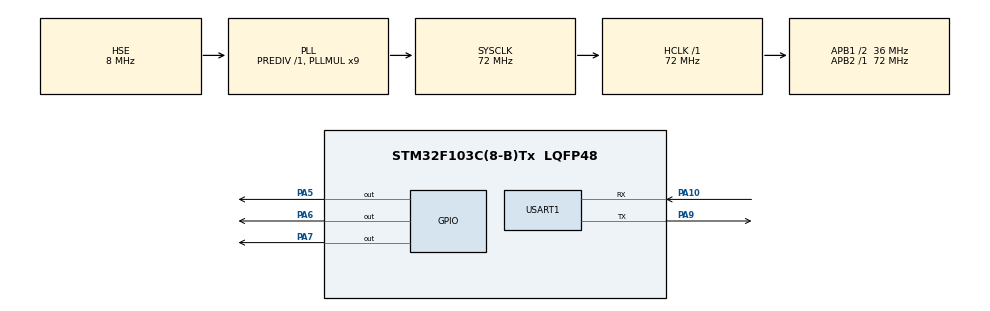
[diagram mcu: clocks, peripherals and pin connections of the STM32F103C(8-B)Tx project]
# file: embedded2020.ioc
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Mcu.Family=STM32F1
Mcu.Name=STM32F103C(8-B)Tx
Mcu.Package=LQFP48
NVIC.PriorityGroup=NVIC_PRIORITYGROUP_4
NVIC.TIM3_IRQn=true\:0\:0\:false\:false\:true\:true\:true
NVIC.TIM4_IRQn=true\:0\:0\:false\:false\:true\:true\:true
NVIC.USART1_IRQn=true\:0\:0\:false\:false\:true\:true\:true
PA10.Mode=Asynchronous
PA10.Signal=USART1_RX
PA13.Mode=Serial_Wire
PA13.Signal=SYS_JTMS-SWDIO
PA14.Mode=Serial_Wire
PA14.Signal=SYS_JTCK-SWCLK
PA5.GPIO_ModeDefaultOutputPP=GPIO_MODE_OUTPUT_PP
PA5.GPIO_PuPd=GPIO_NOPULL
PA5.GPIO_Speed=GPIO_SPEED_FREQ_LOW
PA5.PinState=GPIO_PIN_RESET
PA5.Signal=GPIO_Output
PA6.GPIO_ModeDefaultOutputPP=GPIO_MODE_OUTPUT_PP
PA6.GPIO_PuPd=GPIO_NOPULL
PA6.GPIO_Speed=GPIO_SPEED_FREQ_LOW
PA6.PinState=GPIO_PIN_RESET
PA6.Signal=GPIO_Output
PA7.GPIO_ModeDefaultOutputPP=GPIO_MODE_OUTPUT_PP
PA7.GPIO_PuPd=GPIO_NOPULL
PA7.GPIO_Speed=GPIO_SPEED_FREQ_LOW
PA7.PinState=GPIO_PIN_RESET
PA7.Signal=GPIO_Output
PA9.Mode=Asynchronous
PA9.Signal=USART1_TX
PD0-OSC_IN.Mode=HSE-External-Oscillator
PD0-OSC_IN.Signal=RCC_OSC_IN
PD1-OSC_OUT.Mode=HSE-External-Oscillator
PD1-OSC_OUT.Signal=RCC_OSC_OUT
ProjectManager.HeapSize=0x200
ProjectManager.StackSize=0x400
ProjectManager.TargetToolchain=STM32CubeIDE
RCC.AHBFreq_Value=72000000
RCC.APB1CLKDivider=RCC_HCLK_DIV2
RCC.APB1Freq_Value=36000000
RCC.APB1TimFreq_Value=72000000
RCC.APB2Freq_Value=72000000
RCC.APB2TimFreq_Value=72000000
RCC.HCLKFreq_Value=72000000
RCC.PLLMUL=RCC_PLL_MUL9
RCC.PLLSourceVirtual=RCC_PLLSOURCE_HSE
RCC.SYSCLKFreq_VALUE=72000000
RCC.SYSCLKSource=RCC_SYSCLKSOURCE_PLLCLK
RCC.USBFreq_Value=72000000
RTC.Date=9
RTC.Format=RTC_FORMAT_BIN
RTC.Hours=16
RTC.Minutes=24
RTC.Month=RTC_MONTH_NOVEMBER
RTC.Year=20
TIM3.Period=10000
TIM3.Prescaler=7200
TIM4.Period=28799
TIM4.Prescaler=99
USART1.VirtualMode=VM_ASYNC
VP_RTC_VS_RTC_Activate.Mode=RTC_Enabled
VP_RTC_VS_RTC_Calendar.Mode=RTC_Calendar
VP_TIM3_VS_ClockSourceINT.Mode=Internal
VP_TIM4_VS_ClockSourceINT.Mode=Internal
board=custom

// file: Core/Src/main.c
/* USER CODE BEGIN Header */
/**
  ******************************************************************************
  * @file           : main.c
  * @brief          : Main program body
  ******************************************************************************
  * @attention
  *
  * <h2><center>&copy; Copyright (c) 2020 STMicroelectronics.
  * All rights reserved.</center></h2>
  *
  * This software component is licensed by ST under BSD 3-Clause license,
  * the "License"; You may not use this file except in compliance with the
  * License. You may obtain a copy of the License at:
  *                        opensource.org/licenses/BSD-3-Clause
  *
  ******************************************************************************
  */
/* USER CODE END Header */
#include "main.h"

/* USER CODE BEGIN Includes */
#include <scrolling_text.h>
#include <esp01.h>
#include <clock_face.h>

/* USER CODE END Includes */

RTC_HandleTypeDef hrtc;

TIM_HandleTypeDef htim3;
TIM_HandleTypeDef htim4;

UART_HandleTypeDef huart1;

void SystemClock_Config(void);
static void MX_GPIO_Init(void);
static void MX_RTC_Init(void);
static void MX_USART1_UART_Init(void);
static void MX_TIM4_Init(void);
static void MX_TIM3_Init(void);

/* USER CODE BEGIN 0 */

uint8_t receive_it[1] = {0};

char receive_buffer[1000] = {0};

//char receive_buffer[1000] = {0};

/* USER CODE END 0 */

int main(void)
{

  /* MCU Configuration--------------------------------------------------------*/

  /* Reset of all peripherals, Initializes the Flash interface and the Systick. */
  HAL_Init();

  /* Configure the system clock */
  SystemClock_Config();

  /* Initialize all configured peripherals */
  MX_GPIO_Init();
  MX_RTC_Init();
  MX_USART1_UART_Init();
  MX_TIM4_Init();
  MX_TIM3_Init();
  /* USER CODE BEGIN 2 */
  max_init(0x00);

  HAL_TIM_Base_Start_IT(&htim4); /* Scrolling text timer*/
  HAL_TIM_Base_Start_IT(&htim3); /* Clock face timer*/

  Scrolling_text scrolling_text = {};
  scrolling_text.times = 3; /* 1-10 */
  scrolling_text.char_column = -1;
  scrolling_text.char_index = 0;

  char* device_ip = esp_init("ssid", "pswd");
  sprintf(scrolling_text.text, device_ip);

  /* Initial values for the time and date */
  RTC_TimeTypeDef currTime = {0, 0, 0};
  RTC_DateTypeDef currDate = {6, 11, 15, 20};
  HAL_RTC_SetDate(&hrtc, &currDate, RTC_FORMAT_BIN);
  HAL_RTC_SetTime(&hrtc, &currTime, RTC_FORMAT_BIN);

  /* UART RX init*/
  uart_interrupt_counter = 0;
  HAL_UART_Receive_IT(&huart1, receive_it, 1);

  /* USER CODE END 2 */

  /* Infinite loop */
  /* USER CODE BEGIN WHILE */
  while (1)
  {
	  /* Parsing the UART-buffer */
	  if(uart_interrupt && uart_interrupt_counter > 1){
		  HAL_Delay(200); /* Delay for getting all the data from the ESP */
		  server_handle(receive_buffer, &scrolling_text);
	      /* Clearing the buffer */
		  memset(receive_buffer, 0, sizeof receive_buffer);
		  //receive_buffer[0] = '\0';
		  uart_interrupt_counter = 0;

		  uart_interrupt = 0;
	  }

	  /* The tim4 screen updater interrupt 40ms (25Hz) */
	  if(update_screen == 1 && strlen(scrolling_text.text) != 0){
		  scroll_text_left_IT(&scrolling_text);
		  update_screen = 0;
	  }

	  /* The tim3 clock-face showing interrupt */
	  if(update_clock == 1 && strlen(scrolling_text.text) == 0){
		  HAL_RTC_GetTime(&hrtc, &currTime, RTC_FORMAT_BIN);
		  show_clock_face(&currTime);

		  /* Showing the date in every 30 seconds */
		  if (currTime.Seconds % 30 == 0){
			  HAL_RTC_GetDate(&hrtc, &currDate, RTC_FORMAT_BIN);
			  char* date = get_date_string(&currDate);
			  sprintf(scrolling_text.text, "    %s", date);
			  scrolling_text.times = 1;
		  }
		  update_clock = 0;
	  }

    /* USER CODE END WHILE */

  }
}

void SystemClock_Config(void)
{
  RCC_OscInitTypeDef RCC_OscInitStruct = {0};
  RCC_ClkInitTypeDef RCC_ClkInitStruct = {0};
  RCC_PeriphCLKInitTypeDef PeriphClkInit = {0};

  /** Initializes the RCC Oscillators according to the specified parameters
  * in the RCC_OscInitTypeDef structure.
  */
  RCC_OscInitStruct.OscillatorType = RCC_OSCILLATORTYPE_LSI|RCC_OSCILLATORTYPE_HSE;
  RCC_OscInitStruct.HSEState = RCC_HSE_ON;
  RCC_OscInitStruct.HSEPredivValue = RCC_HSE_PREDIV_DIV1;
  RCC_OscInitStruct.HSIState = RCC_HSI_ON;
  RCC_OscInitStruct.LSIState = RCC_LSI_ON;
  RCC_OscInitStruct.PLL.PLLState = RCC_PLL_ON;
  RCC_OscInitStruct.PLL.PLLSource = RCC_PLLSOURCE_HSE;
  RCC_OscInitStruct.PLL.PLLMUL = RCC_PLL_MUL9;
  if (HAL_RCC_OscConfig(&RCC_OscInitStruct) != HAL_OK)
  {
    Error_Handler();
  }
  /** Initializes the CPU, AHB and APB buses clocks
  */
  RCC_ClkInitStruct.ClockType = RCC_CLOCKTYPE_HCLK|RCC_CLOCKTYPE_SYSCLK
                              |RCC_CLOCKTYPE_PCLK1|RCC_CLOCKTYPE_PCLK2;
  RCC_ClkInitStruct.SYSCLKSource = RCC_SYSCLKSOURCE_PLLCLK;
  RCC_ClkInitStruct.AHBCLKDivider = RCC_SYSCLK_DIV1;
  RCC_ClkInitStruct.APB1CLKDivider = RCC_HCLK_DIV2;
  RCC_ClkInitStruct.APB2CLKDivider = RCC_HCLK_DIV1;

  if (HAL_RCC_ClockConfig(&RCC_ClkInitStruct, FLASH_LATENCY_2) != HAL_OK)
  {
    Error_Handler();
  }
  PeriphClkInit.PeriphClockSelection = RCC_PERIPHCLK_RTC;
  PeriphClkInit.RTCClockSelection = RCC_RTCCLKSOURCE_LSI;
  if (HAL_RCCEx_PeriphCLKConfig(&PeriphClkInit) != HAL_OK)
  {
    Error_Handler();
  }
}

static void MX_RTC_Init(void)
{

  RTC_TimeTypeDef sTime = {0};
  RTC_DateTypeDef DateToUpdate = {0};

  /** Initialize RTC Only
  */
  hrtc.Instance = RTC;
  hrtc.Init.AsynchPrediv = RTC_AUTO_1_SECOND;
  hrtc.Init.OutPut = RTC_OUTPUTSOURCE_ALARM;
  if (HAL_RTC_Init(&hrtc) != HAL_OK)
  {
    Error_Handler();
  }

  /** Initialize RTC and set the Time and Date
  */
  sTime.Hours = 16;
  sTime.Minutes = 24;
  sTime.Seconds = 0;

  if (HAL_RTC_SetTime(&hrtc, &sTime, RTC_FORMAT_BIN) != HAL_OK)
  {
    Error_Handler();
  }
  DateToUpdate.WeekDay = RTC_WEEKDAY_MONDAY;
  DateToUpdate.Month = RTC_MONTH_NOVEMBER;
  DateToUpdate.Date = 9;
  DateToUpdate.Year = 20;

  if (HAL_RTC_SetDate(&hrtc, &DateToUpdate, RTC_FORMAT_BIN) != HAL_OK)
  {
    Error_Handler();
  }

}

static void MX_TIM3_Init(void)
{

  TIM_ClockConfigTypeDef sClockSourceConfig = {0};
  TIM_MasterConfigTypeDef sMasterConfig = {0};

  htim3.Instance = TIM3;
  htim3.Init.Prescaler = 7200;
  htim3.Init.CounterMode = TIM_COUNTERMODE_UP;
  htim3.Init.Period = 10000;
  htim3.Init.ClockDivision = TIM_CLOCKDIVISION_DIV1;
  htim3.Init.AutoReloadPreload = TIM_AUTORELOAD_PRELOAD_DISABLE;
  if (HAL_TIM_Base_Init(&htim3) != HAL_OK)
  {
    Error_Handler();
  }
  sClockSourceConfig.ClockSource = TIM_CLOCKSOURCE_INTERNAL;
  if (HAL_TIM_ConfigClockSource(&htim3, &sClockSourceConfig) != HAL_OK)
  {
    Error_Handler();
  }
  sMasterConfig.MasterOutputTrigger = TIM_TRGO_RESET;
  sMasterConfig.MasterSlaveMode = TIM_MASTERSLAVEMODE_DISABLE;
  if (HAL_TIMEx_MasterConfigSynchronization(&htim3, &sMasterConfig) != HAL_OK)
  {
    Error_Handler();
  }

}

static void MX_TIM4_Init(void)
{

  TIM_ClockConfigTypeDef sClockSourceConfig = {0};
  TIM_MasterConfigTypeDef sMasterConfig = {0};

  htim4.Instance = TIM4;
  htim4.Init.Prescaler = 99;
  htim4.Init.CounterMode = TIM_COUNTERMODE_UP;
  htim4.Init.Period = 28799;
  htim4.Init.ClockDivision = TIM_CLOCKDIVISION_DIV1;
  htim4.Init.AutoReloadPreload = TIM_AUTORELOAD_PRELOAD_DISABLE;
  if (HAL_TIM_Base_Init(&htim4) != HAL_OK)
  {
    Error_Handler();
  }
  sClockSourceConfig.ClockSource = TIM_CLOCKSOURCE_INTERNAL;
  if (HAL_TIM_ConfigClockSource(&htim4, &sClockSourceConfig) != HAL_OK)
  {
    Error_Handler();
  }
  sMasterConfig.MasterOutputTrigger = TIM_TRGO_RESET;
  sMasterConfig.MasterSlaveMode = TIM_MASTERSLAVEMODE_DISABLE;
  if (HAL_TIMEx_MasterConfigSynchronization(&htim4, &sMasterConfig) != HAL_OK)
  {
    Error_Handler();
  }

}

static void MX_USART1_UART_Init(void)
{

  huart1.Instance = USART1;
  huart1.Init.BaudRate = 115200;
  huart1.Init.WordLength = UART_WORDLENGTH_8B;
  huart1.Init.StopBits = UART_STOPBITS_1;
  huart1.Init.Parity = UART_PARITY_NONE;
  huart1.Init.Mode = UART_MODE_TX_RX;
  huart1.Init.HwFlowCtl = UART_HWCONTROL_NONE;
  huart1.Init.OverSampling = UART_OVERSAMPLING_16;
  if (HAL_UART_Init(&huart1) != HAL_OK)
  {
    Error_Handler();
  }

}

static void MX_GPIO_Init(void)
{
  GPIO_InitTypeDef GPIO_InitStruct = {0};

  /* GPIO Ports Clock Enable */
  __HAL_RCC_GPIOD_CLK_ENABLE();
  __HAL_RCC_GPIOA_CLK_ENABLE();

  /*Configure GPIO pin Output Level */
  HAL_GPIO_WritePin(GPIOA, GPIO_PIN_5|GPIO_PIN_6|GPIO_PIN_7, GPIO_PIN_RESET);

  /*Configure GPIO pins : PA5 PA6 PA7 */
  GPIO_InitStruct.Pin = GPIO_PIN_5|GPIO_PIN_6|GPIO_PIN_7;
  GPIO_InitStruct.Mode = GPIO_MODE_OUTPUT_PP;
  GPIO_InitStruct.Pull = GPIO_NOPULL;
  GPIO_InitStruct.Speed = GPIO_SPEED_FREQ_LOW;
  HAL_GPIO_Init(GPIOA, &GPIO_InitStruct);

}

void Error_Handler(void)
{
}

/************************ (C) COPYRIGHT STMicroelectronics *****END OF FILE****/
